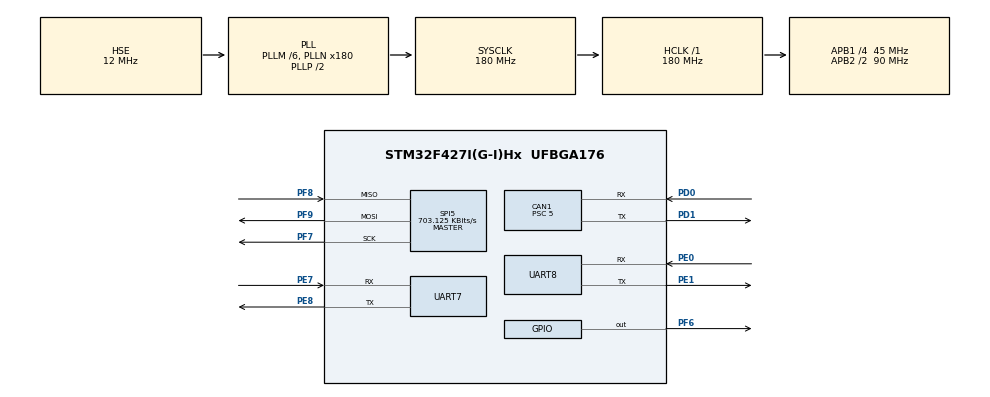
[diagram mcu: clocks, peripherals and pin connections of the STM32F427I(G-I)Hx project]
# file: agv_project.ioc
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CAN1.BS1=CAN_BS1_4TQ
CAN1.BS2=CAN_BS2_4TQ
CAN1.CalculateTimeQuantum=111.11111111111111
CAN1.Prescaler=5
Dma.Request0=UART8_RX
Dma.Request1=UART7_RX
Dma.UART7_RX.1.Direction=DMA_PERIPH_TO_MEMORY
Dma.UART7_RX.1.FIFOMode=DMA_FIFOMODE_DISABLE
Dma.UART7_RX.1.Instance=DMA1_Stream3
Dma.UART7_RX.1.MemDataAlignment=DMA_MDATAALIGN_BYTE
Dma.UART7_RX.1.MemInc=DMA_MINC_ENABLE
Dma.UART7_RX.1.Mode=DMA_NORMAL
Dma.UART7_RX.1.PeriphDataAlignment=DMA_PDATAALIGN_BYTE
Dma.UART7_RX.1.PeriphInc=DMA_PINC_DISABLE
Dma.UART7_RX.1.Priority=DMA_PRIORITY_VERY_HIGH
Dma.UART8_RX.0.Direction=DMA_PERIPH_TO_MEMORY
Dma.UART8_RX.0.FIFOMode=DMA_FIFOMODE_DISABLE
Dma.UART8_RX.0.Instance=DMA1_Stream6
Dma.UART8_RX.0.MemDataAlignment=DMA_MDATAALIGN_BYTE
Dma.UART8_RX.0.MemInc=DMA_MINC_ENABLE
Dma.UART8_RX.0.Mode=DMA_NORMAL
Dma.UART8_RX.0.PeriphDataAlignment=DMA_PDATAALIGN_BYTE
Dma.UART8_RX.0.PeriphInc=DMA_PINC_DISABLE
Dma.UART8_RX.0.Priority=DMA_PRIORITY_VERY_HIGH
FREERTOS.Tasks01=defaultTask,0,128,StartDefaultTask,Default,NULL,Dynamic,NULL,NULL;spdm,2,128,spdm_thread,As external,NULL,Dynamic,NULL,NULL;kalman,2,1024,kalman_thread,As external,NULL,Dynamic,NULL,NULL;pospid,2,128,pospid_calc_thread,As external,NULL,Dynamic,NULL,NULL;imu,2,128,imu_thread,As external,NULL,Dynamic,NULL,NULL;arm,2,128,arm_calc_thread,As external,NULL,Dynamic,NULL,NULL
Mcu.Family=STM32F4
Mcu.Name=STM32F427I(G-I)Hx
Mcu.Package=UFBGA176
NVIC.CAN1_RX0_IRQn=true\:5\:0\:false\:false\:true\:true\:true\:true
NVIC.DMA1_Stream3_IRQn=true\:5\:0\:false\:false\:true\:true\:false\:true
NVIC.DMA1_Stream6_IRQn=true\:5\:0\:false\:false\:true\:true\:false\:true
NVIC.PriorityGroup=NVIC_PRIORITYGROUP_4
NVIC.TIM8_TRG_COM_TIM14_IRQn=true\:0\:0\:false\:false\:true\:false\:false\:true
NVIC.TimeBase=TIM8_TRG_COM_TIM14_IRQn
NVIC.TimeBaseIP=TIM14
NVIC.UART7_IRQn=true\:5\:0\:false\:false\:true\:true\:true\:true
NVIC.UART8_IRQn=true\:5\:0\:false\:false\:true\:true\:true\:true
PA13.Mode=Serial_Wire
PA13.Signal=SYS_JTMS-SWDIO
PA14.Mode=Serial_Wire
PA14.Signal=SYS_JTCK-SWCLK
PD0.Mode=Master
PD0.Signal=CAN1_RX
PD1.Mode=Master
PD1.Signal=CAN1_TX
PE0.Mode=Asynchronous
PE0.Signal=UART8_RX
PE1.Mode=Asynchronous
PE1.Signal=UART8_TX
PE7.Mode=Asynchronous
PE7.Signal=UART7_RX
PE8.Mode=Asynchronous
PE8.Signal=UART7_TX
PF6.Signal=GPIO_Output
PF7.Mode=Full_Duplex_Master
PF7.Signal=SPI5_SCK
PF8.Mode=Full_Duplex_Master
PF8.Signal=SPI5_MISO
PF9.Mode=Full_Duplex_Master
PF9.Signal=SPI5_MOSI
PH0/OSC_IN.Mode=HSE-External-Oscillator
PH0/OSC_IN.Signal=RCC_OSC_IN
PH1/OSC_OUT.Mode=HSE-External-Oscillator
PH1/OSC_OUT.Signal=RCC_OSC_OUT
ProjectManager.HeapSize=0x200
ProjectManager.StackSize=0x400
ProjectManager.TargetToolchain=STM32CubeIDE
RCC.48MHZClocksFreq_Value=90000000
RCC.AHBFreq_Value=180000000
RCC.APB1CLKDivider=RCC_HCLK_DIV4
RCC.APB1Freq_Value=45000000
RCC.APB1TimFreq_Value=90000000
RCC.APB2CLKDivider=RCC_HCLK_DIV2
RCC.APB2Freq_Value=90000000
RCC.APB2TimFreq_Value=180000000
RCC.CortexFreq_Value=180000000
RCC.EnbaleCSS=true
RCC.HCLKFreq_Value=180000000
RCC.HSE_VALUE=12000000
RCC.HSI_VALUE=16000000
RCC.LSE_VALUE=32768
RCC.PLLM=6
RCC.PLLN=180
RCC.PLLSourceVirtual=RCC_PLLSOURCE_HSE
RCC.SYSCLKFreq_VALUE=180000000
RCC.SYSCLKSource=RCC_SYSCLKSOURCE_PLLCLK
RCC.VCOOutputFreq_Value=360000000
SPI5.BaudRatePrescaler=SPI_BAUDRATEPRESCALER_128
SPI5.CalculateBaudRate=703.125 KBits/s
SPI5.Direction=SPI_DIRECTION_2LINES
SPI5.Mode=SPI_MODE_MASTER
SPI5.VirtualType=VM_MASTER
UART7.VirtualMode=Asynchronous
UART8.VirtualMode=Asynchronous
VP_FREERTOS_VS_CMSIS_V1.Mode=CMSIS_V1
VP_SYS_VS_tim14.Mode=TIM14
board=custom

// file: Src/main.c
/* USER CODE BEGIN Header */
/**
  ******************************************************************************
  * @file           : main.c
  * @brief          : Main program body
  ******************************************************************************
  * @attention
  *
  * <h2><center>&copy; Copyright (c) 2021 STMicroelectronics.
  * All rights reserved.</center></h2>
  *
  * This software component is licensed by ST under Ultimate Liberty license
  * SLA0044, the "License"; You may not use this file except in compliance with
  * the License. You may obtain a copy of the License at:
  *                             www.st.com/SLA0044
  *
  ******************************************************************************
  */
/* USER CODE END Header */

#include "main.h"
#include "cmsis_os.h"
#include "can.h"
#include "dma.h"
#include "spi.h"
#include "usart.h"
#include "gpio.h"

/* USER CODE BEGIN Includes */

#include "dev.h"
#include "pidtools.h"
#include "kalmantools.h"
#include "agvui.h"

/* USER CODE END Includes */

/* USER CODE BEGIN PV */

Agvui_t A;

/* USER CODE END PV */

void SystemClock_Config(void);
void MX_FREERTOS_Init(void);

/* USER CODE BEGIN 0 */

//void ui_transmit_thread(void const * argument)
//{
//	while (1)
//	{
////		AGVUI_MainTask(&A);
//		osDelay(50);
//	}
//}

void AGVUI_Callback( Agvui_t * a )
{
	float * params = AGVUI_GetParams(a);

	/* 上位机发送目标XY位置 */
	if (AGVUI_GetHead(a) == 1)
	{
		goalx = params[0];
		goaly = params[1];
		pospid.cnt = 0;
		pospid.rough = ROUGH_DIV;
	}

	/* 上位机发送XY方向增益 */
	else if (AGVUI_GetHead(a) == 2)
	{
		gainx = params[0];
		gainy = params[1];
	}

	/* 上位机发送控制参�???? */
	else if (AGVUI_GetHead(a) == 3)
	{
		float forward, offset, rotate;
		forward = params[0];
		offset = params[1];
		rotate = params[2];
		fix_vel[0] = forward - offset - rotate;
		fix_vel[1] = forward + offset + rotate;
		fix_vel[2] = forward - offset + rotate;
		fix_vel[3] = forward + offset - rotate;
	}

	/* 上位机发送修正指�???? */
	else if (AGVUI_GetHead(a) == 4)
	{
		fix_cmd = FIX_TRUE;
	}
}

/* USER CODE END 0 */

int main(void)
{

  /* MCU Configuration--------------------------------------------------------*/

  /* Reset of all peripherals, Initializes the Flash interface and the Systick. */
  HAL_Init();

  /* Configure the system clock */
  SystemClock_Config();

  /* Initialize all configured peripherals */
  MX_GPIO_Init();
  MX_DMA_Init();
  MX_CAN1_Init();
  MX_UART8_Init();
  MX_SPI5_Init();
  MX_UART7_Init();
  /* USER CODE BEGIN 2 */

  dev_init();

  AGVUI_Open( &A, &huart8 );
  AGVUI_SetTxDataAdd( &A, (void*)&pospid.cnt, (void*)&pospid.cnt );

  /* USER CODE END 2 */

  /* Call init function for freertos objects (in freertos.c) */
  MX_FREERTOS_Init();
  /* Start scheduler */
  osKernelStart();

  /* We should never get here as control is now taken by the scheduler */
  /* Infinite loop */
  while (1)
  {

  }
}

void SystemClock_Config(void)
{
  RCC_OscInitTypeDef RCC_OscInitStruct = {0};
  RCC_ClkInitTypeDef RCC_ClkInitStruct = {0};

  /** Configure the main internal regulator output voltage
  */
  __HAL_RCC_PWR_CLK_ENABLE();
  __HAL_PWR_VOLTAGESCALING_CONFIG(PWR_REGULATOR_VOLTAGE_SCALE1);
  /** Initializes the CPU, AHB and APB busses clocks
  */
  RCC_OscInitStruct.OscillatorType = RCC_OSCILLATORTYPE_HSE;
  RCC_OscInitStruct.HSEState = RCC_HSE_ON;
  RCC_OscInitStruct.PLL.PLLState = RCC_PLL_ON;
  RCC_OscInitStruct.PLL.PLLSource = RCC_PLLSOURCE_HSE;
  RCC_OscInitStruct.PLL.PLLM = 6;
  RCC_OscInitStruct.PLL.PLLN = 180;
  RCC_OscInitStruct.PLL.PLLP = RCC_PLLP_DIV2;
  RCC_OscInitStruct.PLL.PLLQ = 4;
  if (HAL_RCC_OscConfig(&RCC_OscInitStruct) != HAL_OK)
  {
    Error_Handler();
  }
  /** Activate the Over-Drive mode
  */
  if (HAL_PWREx_EnableOverDrive() != HAL_OK)
  {
    Error_Handler();
  }
  /** Initializes the CPU, AHB and APB busses clocks
  */
  RCC_ClkInitStruct.ClockType = RCC_CLOCKTYPE_HCLK|RCC_CLOCKTYPE_SYSCLK
                              |RCC_CLOCKTYPE_PCLK1|RCC_CLOCKTYPE_PCLK2;
  RCC_ClkInitStruct.SYSCLKSource = RCC_SYSCLKSOURCE_PLLCLK;
  RCC_ClkInitStruct.AHBCLKDivider = RCC_SYSCLK_DIV1;
  RCC_ClkInitStruct.APB1CLKDivider = RCC_HCLK_DIV4;
  RCC_ClkInitStruct.APB2CLKDivider = RCC_HCLK_DIV2;

  if (HAL_RCC_ClockConfig(&RCC_ClkInitStruct, FLASH_LATENCY_5) != HAL_OK)
  {
    Error_Handler();
  }
  /** Enables the Clock Security System
  */
  HAL_RCC_EnableCSS();
}

 /**
  * @brief  Period elapsed callback in non blocking mode
  * @note   This function is called  when TIM14 interrupt took place, inside
  * HAL_TIM_IRQHandler(). It makes a direct call to HAL_IncTick() to increment
  * a global variable "uwTick" used as application time base.
  * @param  htim : TIM handle
  * @retval None
  */
void HAL_TIM_PeriodElapsedCallback(TIM_HandleTypeDef *htim)
{
  if (htim->Instance == TIM14) {
    HAL_IncTick();
  }
}

void Error_Handler(void)
{
}

/************************ (C) COPYRIGHT STMicroelectronics *****END OF FILE****/

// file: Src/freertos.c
/* USER CODE BEGIN Header */
/**
  ******************************************************************************
  * File Name          : freertos.c
  * Description        : Code for freertos applications
  ******************************************************************************
  * @attention
  *
  * <h2><center>&copy; Copyright (c) 2021 STMicroelectronics.
  * All rights reserved.</center></h2>
  *
  * This software component is licensed by ST under Ultimate Liberty license
  * SLA0044, the "License"; You may not use this file except in compliance with
  * the License. You may obtain a copy of the License at:
  *                             www.st.com/SLA0044
  *
  ******************************************************************************
  */
/* USER CODE END Header */

#include "FreeRTOS.h"
#include "task.h"
#include "main.h"
#include "cmsis_os.h"

osThreadId defaultTaskHandle;
osThreadId spdmHandle;
osThreadId kalmanHandle;
osThreadId pospidHandle;
osThreadId imuHandle;
osThreadId armHandle;

void StartDefaultTask(void const * argument);
extern void spdm_thread(void const * argument);
extern void kalman_thread(void const * argument);
extern void pospid_calc_thread(void const * argument);
extern void imu_thread(void const * argument);
extern void arm_calc_thread(void const * argument);

void MX_FREERTOS_Init(void); /* (MISRA C 2004 rule 8.1) */

/* GetIdleTaskMemory prototype (linked to static allocation support) */
void vApplicationGetIdleTaskMemory( StaticTask_t **ppxIdleTaskTCBBuffer, StackType_t **ppxIdleTaskStackBuffer, uint32_t *pulIdleTaskStackSize );

/* USER CODE BEGIN GET_IDLE_TASK_MEMORY */
static StaticTask_t xIdleTaskTCBBuffer;
static StackType_t xIdleStack[configMINIMAL_STACK_SIZE];

void vApplicationGetIdleTaskMemory( StaticTask_t **ppxIdleTaskTCBBuffer, StackType_t **ppxIdleTaskStackBuffer, uint32_t *pulIdleTaskStackSize )
{
  *ppxIdleTaskTCBBuffer = &xIdleTaskTCBBuffer;
  *ppxIdleTaskStackBuffer = &xIdleStack[0];
  *pulIdleTaskStackSize = configMINIMAL_STACK_SIZE;
  /* place for user code */
}
/* USER CODE END GET_IDLE_TASK_MEMORY */

void MX_FREERTOS_Init(void) {

  /* Create the thread(s) */
  /* definition and creation of defaultTask */
  osThreadDef(defaultTask, StartDefaultTask, osPriorityNormal, 0, 128);
  defaultTaskHandle = osThreadCreate(osThread(defaultTask), NULL);

  /* definition and creation of spdm */
  osThreadDef(spdm, spdm_thread, osPriorityHigh, 0, 128);
  spdmHandle = osThreadCreate(osThread(spdm), NULL);

  /* definition and creation of kalman */
  osThreadDef(kalman, kalman_thread, osPriorityHigh, 0, 1024);
  kalmanHandle = osThreadCreate(osThread(kalman), NULL);

  /* definition and creation of pospid */
  osThreadDef(pospid, pospid_calc_thread, osPriorityHigh, 0, 128);
  pospidHandle = osThreadCreate(osThread(pospid), NULL);

  /* definition and creation of imu */
  osThreadDef(imu, imu_thread, osPriorityHigh, 0, 128);
  imuHandle = osThreadCreate(osThread(imu), NULL);

  /* definition and creation of arm */
  osThreadDef(arm, arm_calc_thread, osPriorityHigh, 0, 128);
  armHandle = osThreadCreate(osThread(arm), NULL);

}

void StartDefaultTask(void const * argument)
{
  for(;;)
  {
    osDelay(1);
  }
}

/************************ (C) COPYRIGHT STMicroelectronics *****END OF FILE****/
